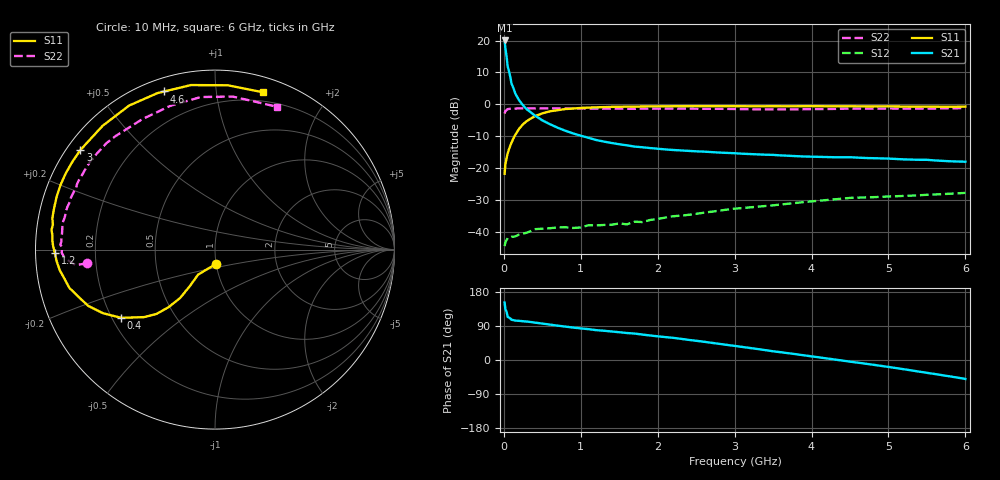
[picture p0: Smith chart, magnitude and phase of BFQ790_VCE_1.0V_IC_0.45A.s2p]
! (c) 2015  Infineon Technologies AG, Munich
! Infineon Technologies  Discrete & RF Semiconductors
! BFQ790
! VCE =  1.0 V,  IC = 0.45 A
! Common Emitter S-Parameters:  May 2015
# GHz  S  MA  R  50
!  f  S11  S21  S12  S22
! GHz  MAG  ANG  MAG  ANG  MAG  ANG  MAG  ANG
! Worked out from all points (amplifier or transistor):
!   77 points, 10 MHz to 6 GHz, reference 50 ohm
!   highest |S21| = 20.0 dB at 10 MHz (marker M1)
!   |S21| within 3 dB of that: start of sweep to 23.72 MHz
!   unconditionally stable (mu >= 1): start of sweep to end of sweep
!   at 130 MHz: K = 8.60, MAG = 10.8 dB, |S12| = -41.6 dB
!   at 2.2 GHz: K = 6.13, MAG = -0.5 dB, |S12| = -35.2 dB
!   at 6 GHz: K = 4.34, MAG = -4.4 dB, |S12| = -27.9 dB
!   S11 on the Smith chart (normalised r, x): 10 MHz: 1.00, -0.16; 400 MHz: 0.24, -0.31; 1.2 GHz: 0.06, -0.01; 3 GHz: 0.04, +0.33; 4.6 GHz: 0.06, +0.73; 6 GHz: 0.12, +1.35
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0.01  0.0808 -86.2  10.02 151.7  0.0059 11.2  0.7146 -173.8
0.02  0.1147 -110.9  7.609 134.3  0.0068 10.5  0.7817 -173.7
0.05  0.1684 -124.0  3.898 113.6  0.0079 13.1  0.8377 -176.7
0.1  0.2493 -124.6  2.105 106.1  0.0083 10.3  0.8543 -178.8
0.15  0.3323 -125.8  1.46 104.0  0.0084 16.6  0.8522 179.0
0.2  0.4126 -128.9  1.148 103.3  0.009 17.3  0.8627 178.2
0.25  0.485 -132.3  0.958 102.3  0.0093 15.7  0.8575 177.1
0.3  0.5454 -136.4  0.827 101.4  0.0096 14.6  0.8578 176.0
0.4  0.6465 -144.0  0.667 98.7  0.0109 17.0  0.8571 174.2
0.5  0.7186 -150.5  0.558 96.1  0.0111 13.8  0.858 172.7
0.7  0.806 -161.1  0.427 90.6  0.0116 17.6  0.8605 169.4
1  0.873 -172.5  0.32 83.4  0.0116 14.1  0.8578 165.4
1.1  0.8848 -175.8  0.297 81.4  0.0126 16.9  0.856 163.9
1.2  0.892 -178.7  0.274 78.8  0.0125 17.2  0.8526 162.5
1.6  0.9175 173.1  0.226 71.2  0.013 21.6  0.8492 157.4
2.1  0.9274 163.5  0.195 60.5  0.0166 21.3  0.8493 150.0
3  0.933 143.5  0.17 37.2  0.0229 12.5  0.8407 131.2
3.1  0.9298 141.2  0.167 34.5  0.0234 10.5  0.836 128.8
4.1  0.9307 118.7  0.149 6.9  0.0305 -5.8  0.8389 104.9
4.6  0.9253 107.8  0.145 -7.0  0.0341 -15.9  0.8516 92.9
5.1  0.9212 95.8  0.138 -21.3  0.0359 -27.0  0.8555 81.4
6  0.9167 72.9  0.125 -50.0  0.0405 -47.4  0.8675 66.4
